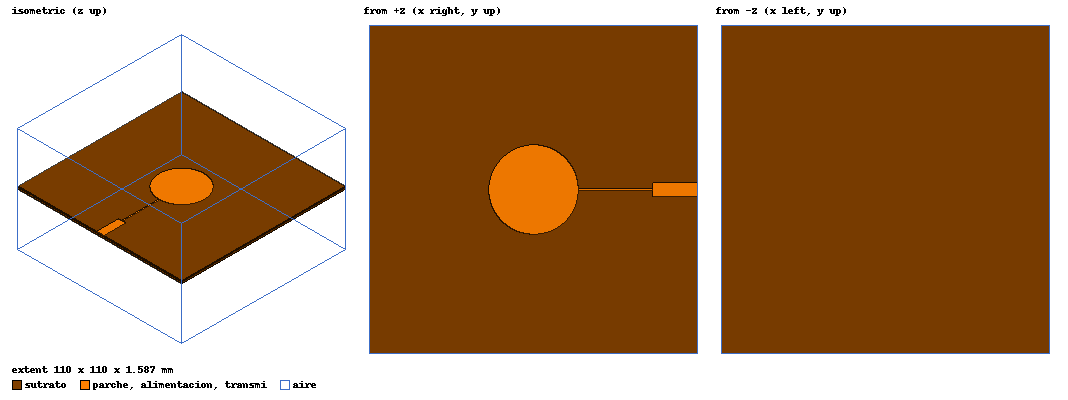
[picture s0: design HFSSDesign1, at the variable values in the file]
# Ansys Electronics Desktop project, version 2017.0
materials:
  vacuum: permittivity=1
  FR4_epoxy: permittivity=4.4 dielectric_loss_tangent=0.02
  air: permittivity=1.0006 permeability=1.0000004
  copper: permeability=0.999991 conductivity=58000000

design HFSSDesign1 (HFSS, DrivenModal, model units mm)
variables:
  variables = [1.57, 110, 70, 0.017, 15, 15] mm
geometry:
  sutrato [FR4_epoxy] = box(corner=(0mm, 0mm, 0mm), size=(variables[1], variables[1], variables[0]))
  aire [air] = box(corner=(0mm, 0mm, -variables[2]/2), size=(variables[1], variables[1], variables[2]))
  parche [copper] = cylinder(axis=Z, base_centre=(variables[1]/2, variables[1]/2, variables[0]), radius=variables[4], height=variables[3])
  alimentacion [copper] = box(corner=(variables[1]-(15mm), (variables[1]/2)-(4.84mm/2), variables[0]), size=(variables[5], 4.84mm, variables[3]))
  transmi [copper] = box(corner=((variables[1]/2)+(variables[4]), (variables[1]/2)-(0.72mm/2), variables[0]), size=(((variables[1]/2)-(variables[4]))-variables[5], 0.72mm, variables[3]))
